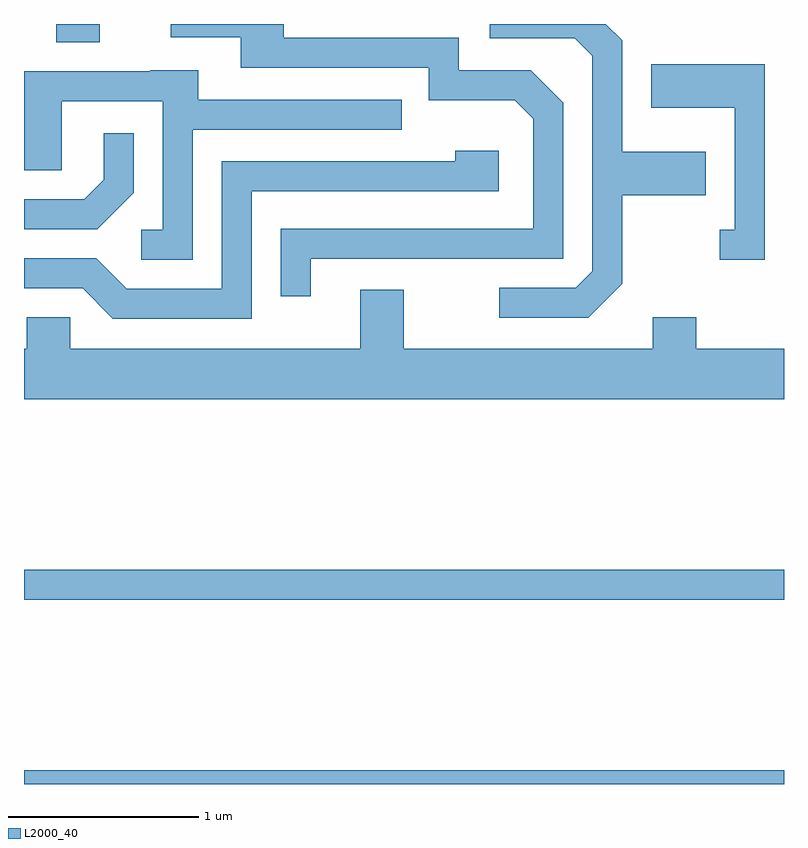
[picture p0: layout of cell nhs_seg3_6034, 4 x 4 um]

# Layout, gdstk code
import gdstk
lib = gdstk.Library(unit=1e-6, precision=1e-09)
def R(c, l, rs):  # rectangles x0, y0, x1, y1
    for r in rs: c.add(gdstk.rectangle(r[:2], r[2:], *l))
def P(c, l, *ps):  # polygons
    for p in ps: c.add(gdstk.Polygon(p, *l))
L2000_40 = (2000, 40)

nhs_seg3_6034 = lib.new_cell('nhs_seg3_6034')
R(nhs_seg3_6034, L2000_40, [(361.611,1223.892,365.611,1223.964), (361.611,1224.861,365.611,1225.019), (361.781,1227.796,362.009,1227.892)])
P(nhs_seg3_6034, L2000_40, [(363.119,1226.656),(364.449,1226.656),(364.449,1227.477),(364.277,1227.649),(363.899,1227.649),(363.899,1227.819),(362.979,1227.819),(362.979,1227.892),(362.383,1227.892),(362.383,1227.821),(362.751,1227.821),(362.751,1227.661),(363.741,1227.661),(363.741,1227.491),(364.194,1227.491),(364.291,1227.394),(364.291,1226.814),(362.961,1226.814),(362.961,1226.458),(363.119,1226.458)],
  [(364.759,1226.524),(364.759,1226.991),(365.199,1226.991),(365.199,1227.219),(364.759,1227.219),(364.759,1227.807),(364.674,1227.892),(364.063,1227.892),(364.063,1227.816),(364.509,1227.816),(364.601,1227.724),(364.601,1226.592),(364.514,1226.504),(364.113,1226.504),(364.113,1226.346),(364.582,1226.346)],
  [(365.509,1227.679),(364.911,1227.679),(364.911,1227.451),(365.351,1227.451),(365.351,1226.809),(365.273,1226.809),(365.273,1226.651),(365.509,1226.651)],
  [(362.499,1227.336),(363.598,1227.336),(363.598,1227.494),(362.529,1227.494),(362.529,1227.649),(362.275,1227.649),(362.275,1227.644),(361.611,1227.644),(361.611,1227.121),(361.809,1227.121),(361.809,1227.486),(362.341,1227.486),(362.341,1226.809),(362.228,1226.809),(362.228,1226.651),(362.499,1226.651)],
  [(362.189,1227.004),(362.189,1227.318),(362.031,1227.318),(362.031,1227.072),(361.929,1226.969),(361.611,1226.969),(361.611,1226.811),(361.997,1226.811)],
  [(362.809,1227.011),(364.109,1227.011),(364.109,1227.224),(363.881,1227.224),(363.881,1227.169),(362.651,1227.169),(362.651,1226.499),(362.152,1226.499),(361.992,1226.659),(361.611,1226.659),(361.611,1226.501),(361.919,1226.501),(362.079,1226.341),(362.809,1226.341)],
  [(365.611,1226.184),(365.149,1226.184),(365.149,1226.349),(364.921,1226.349),(364.921,1226.184),(363.609,1226.184),(363.609,1226.494),(363.381,1226.494),(363.381,1226.184),(361.854,1226.184),(361.854,1226.349),(361.626,1226.349),(361.626,1226.184),(361.611,1226.184),(361.611,1225.916),(365.611,1225.916)])

lib.write_gds('nhs_seg3_6034.gds')
